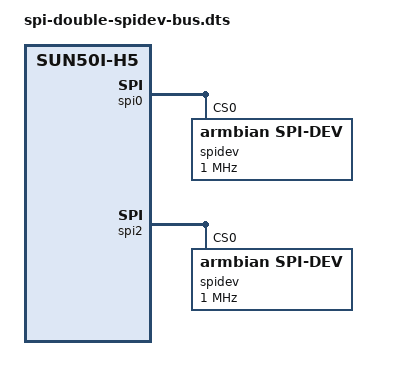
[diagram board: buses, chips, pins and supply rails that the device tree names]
/dts-v1/;
/plugin/;

/ {
	compatible = "allwinner,sun4i-a10", "allwinner,sun7i-a20", "allwinner,sun8i-h3", "allwinner,sun50i-a64", "allwinner,sun50i-h5";

	fragment@0 {
		target-path = "/aliases";
		__overlay__ {
			spi0 = "/soc/spi@01c05000";
			spi2 = "/soc/spi@01c17000";
		};
	};

	fragment@1 {
		target = <&spi0>;
		__overlay__ {
			#address-cells = <1>;
			#size-cells = <0>;
			status = "okay";

			spidev@0 {
				reg = <0>; /* Chip Select 0 */
				compatible = "armbian,spi-dev";
				pinctrl-names="default";
				pinctrl-0=<&spi0_pi_pins>;
				spi-max-frequency = <1000000>;
				status = "okay";
			};
		};
	};

	fragment@2 {
		target = <&spi2>;
		__overlay__ {
			#address-cells = <1>;
			#size-cells = <0>;
			status = "okay";

			spidev@0 {
				reg = <0>; /* Chip Select 0 */
				compatible = "armbian,spi-dev";
				pinctrl-names="default";
				pinctrl-0=<&spi2_pc_pins>;
				spi-max-frequency = <1000000>;
				status = "okay";
			};
		};
	};
};
